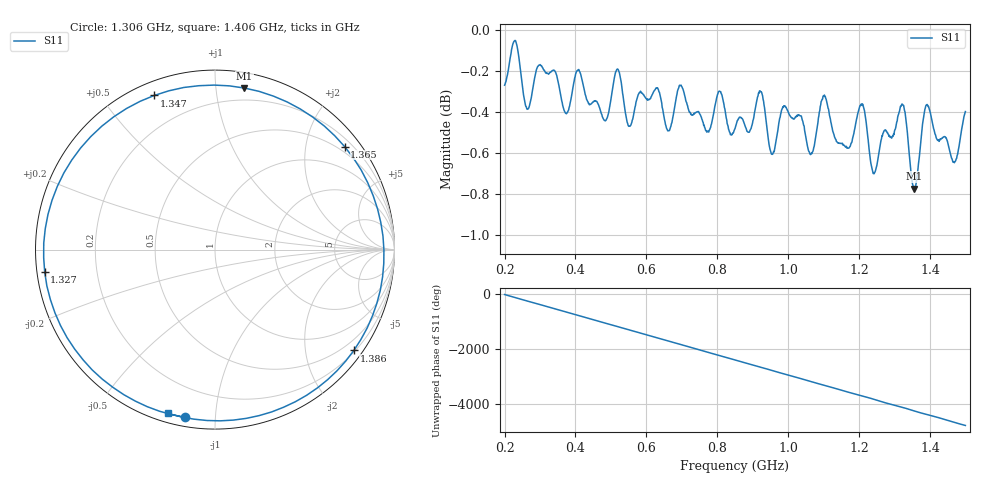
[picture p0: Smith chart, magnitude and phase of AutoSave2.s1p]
!Agilent N9923A: A.05.17
!Date: Sunday, 01 January 2006 13:12:32
!Model: N9923A
!Serial: MY50371189
!CHECKSUM:0029043396
!Correction: S11(ON U)
!S1P File: Measurement: S11:
# Hz S RI R 50
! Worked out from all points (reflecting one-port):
!   1001 points, 200 MHz to 1.5 GHz, reference 50 ohm
!   lowest |S11| = -0.8 dB at 1.354 GHz (marker M1), VSWR 22.50, Z = 5.4 + j59.6 ohm
!   phase of S11 starts at -12 deg and turns -4761 deg over the sweep
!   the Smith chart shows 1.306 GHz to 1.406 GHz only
!   S11 on the Smith chart (normalised r, x): 1.306 GHz: 0.04, -0.84; 1.327 GHz: 0.02, -0.07; 1.347 GHz: 0.06, +0.68; 1.365 GHz: 0.37, +2.83; 1.386 GHz: 0.23, -3.06; 1.406 GHz: 0.04, -0.75
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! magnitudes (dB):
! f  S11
! 200 MHz  -0.3
! 228.6 MHz  -0.1
! 262.4 MHz  -0.4
! 298.8 MHz  -0.2
! 362.5 MHz  -0.4
! 408 MHz  -0.2
! 484.7 MHz  -0.4
! 525 MHz  -0.2
! 552.3 MHz  -0.5
! 687.5 MHz  -0.3
! 850 MHz  -0.5
! 955.3 MHz  -0.6
! 1.012 GHz  -0.4
! 1.065 GHz  -0.6
! 1.102 GHz  -0.3
! 1.175 GHz  -0.6
! 1.209 GHz  -0.4
! 1.243 GHz  -0.7
! 1.306 GHz  -0.4
! 1.327 GHz  -0.4
! 1.337 GHz  -0.5
! 1.347 GHz  -0.7
! 1.354 GHz  -0.8
! 1.365 GHz  -0.7
! 1.386 GHz  -0.4
! 1.406 GHz  -0.4
! 1.469 GHz  -0.6
! 1.5 GHz  -0.4
